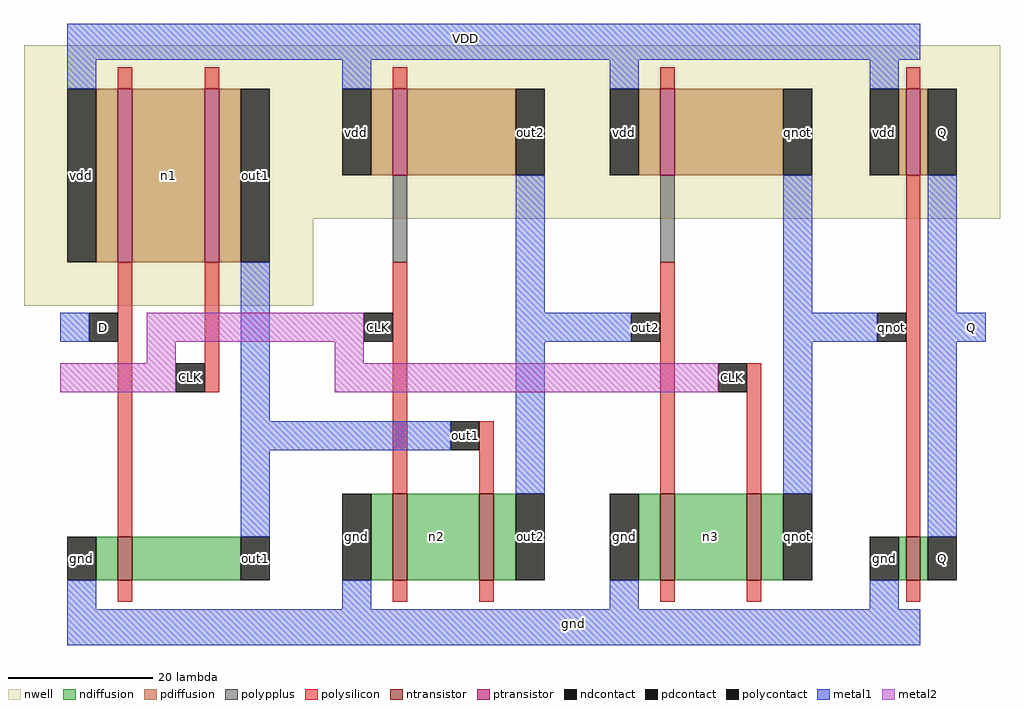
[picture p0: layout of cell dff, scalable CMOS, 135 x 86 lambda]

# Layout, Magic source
magic
tech scmos
<< nwell >>
rect -6 6 129 30
rect -6 -6 34 6
<< ntransistor >>
rect 7 -44 9 -38
rect 45 -44 47 -32
rect 57 -44 59 -32
rect 82 -44 84 -32
rect 94 -44 96 -32
rect 116 -44 118 -38
<< ptransistor >>
rect 7 0 9 24
rect 19 0 21 24
rect 45 12 47 24
rect 82 12 84 24
rect 116 12 118 24
<< ndiffusion >>
rect 4 -44 7 -38
rect 9 -44 24 -38
rect 42 -44 45 -32
rect 47 -44 57 -32
rect 59 -44 62 -32
rect 79 -44 82 -32
rect 84 -44 94 -32
rect 96 -44 99 -32
rect 115 -44 116 -38
rect 118 -44 119 -38
<< pdiffusion >>
rect 4 0 7 24
rect 9 0 19 24
rect 21 0 24 24
rect 42 12 45 24
rect 47 12 62 24
rect 79 12 82 24
rect 84 12 99 24
rect 115 12 116 24
rect 118 12 119 24
<< ndcontact >>
rect 0 -44 4 -38
rect 24 -44 28 -38
rect 38 -44 42 -32
rect 62 -44 66 -32
rect 75 -44 79 -32
rect 99 -44 103 -32
rect 111 -44 115 -38
rect 119 -44 123 -38
<< pdcontact >>
rect 0 0 4 24
rect 24 0 28 24
rect 38 12 42 24
rect 62 12 66 24
rect 75 12 79 24
rect 99 12 103 24
rect 111 12 115 24
rect 119 12 123 24
<< polysilicon >>
rect 7 24 9 27
rect 19 24 21 27
rect 45 24 47 27
rect 82 24 84 27
rect 116 24 118 27
rect 7 -38 9 0
rect 19 -18 21 0
rect 45 -32 47 0
rect 57 -32 59 -22
rect 82 -32 84 0
rect 94 -32 96 -14
rect 116 -38 118 12
rect 7 -47 9 -44
rect 45 -47 47 -44
rect 57 -47 59 -44
rect 82 -47 84 -44
rect 94 -47 96 -44
rect 116 -47 118 -44
<< polycontact >>
rect 3 -11 7 -7
rect 15 -18 19 -14
rect 41 -11 45 -7
rect 78 -11 82 -7
rect 53 -26 57 -22
rect 112 -11 116 -7
rect 90 -18 94 -14
<< polypplus >>
rect 45 0 47 12
rect 82 0 84 12
<< metal1 >>
rect 0 28 118 33
rect 0 24 4 28
rect 38 24 42 28
rect 75 24 79 28
rect 111 24 115 28
rect -1 -11 3 -7
rect 24 -22 28 0
rect 62 -7 66 12
rect 99 -7 103 12
rect 119 -7 123 12
rect 62 -11 78 -7
rect 99 -11 112 -7
rect 119 -11 127 -7
rect 24 -26 53 -22
rect 24 -38 28 -26
rect 62 -32 66 -11
rect 99 -32 103 -11
rect 119 -38 123 -11
rect 0 -48 4 -44
rect 38 -48 42 -44
rect 75 -48 79 -44
rect 111 -48 115 -44
rect 0 -53 118 -48
<< metal2 >>
rect 11 -11 41 -7
rect 11 -14 15 -11
rect -1 -18 15 -14
rect 37 -14 41 -11
rect 37 -18 90 -14
<< labels >>
rlabel metal1 55 31 55 31 5 VDD
rlabel ndcontact 2 -41 2 -41 1 gnd
rlabel metal1 70 -50 70 -50 1 gnd
rlabel polycontact 5 -9 5 -9 1 D
rlabel ndcontact 26 -41 26 -41 1 out1
rlabel pdcontact 2 12 2 12 1 vdd
rlabel pdcontact 26 12 26 12 1 out1
rlabel ndcontact 40 -38 40 -38 1 gnd
rlabel ndcontact 64 -38 64 -38 1 out2
rlabel pdcontact 40 18 40 18 1 vdd
rlabel pdcontact 64 18 64 18 1 out2
rlabel ndcontact 77 -38 77 -38 1 gnd
rlabel ndcontact 101 -38 101 -38 1 qnot
rlabel polycontact 80 -9 80 -9 1 out2
rlabel pdcontact 77 18 77 18 1 vdd
rlabel pdcontact 101 18 101 18 1 qnot
rlabel polycontact 114 -9 114 -9 1 qnot
rlabel ndcontact 113 -41 113 -41 1 gnd
rlabel ndcontact 121 -41 121 -41 1 Q
rlabel metal1 125 -9 125 -9 7 Q
rlabel pdcontact 121 18 121 18 1 Q
rlabel pdcontact 113 18 113 18 1 vdd
rlabel pdiffusion 14 12 14 12 1 n1
rlabel ndiffusion 51 -38 51 -38 1 n2
rlabel ndiffusion 89 -38 89 -38 1 n3
rlabel polycontact 17 -16 17 -16 1 CLK
rlabel polycontact 92 -16 92 -16 1 CLK
rlabel polycontact 43 -9 43 -9 1 CLK
rlabel polycontact 55 -24 55 -24 1 out1
<< end >>
